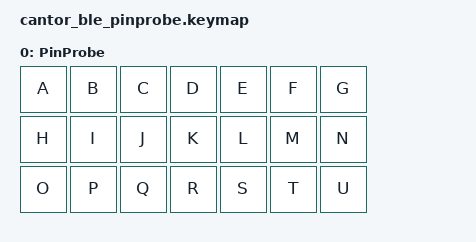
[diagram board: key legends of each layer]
#include <behaviors.dtsi>
#include <dt-bindings/zmk/keys.h>

/ {
  keymap {
    compatible = "zmk,keymap";
    probe_layer {
      display-name = "PinProbe";
      bindings = <
        &kp A &kp B &kp C &kp D &kp E &kp F &kp G
        &kp H &kp I &kp J &kp K &kp L &kp M &kp N
        &kp O &kp P &kp Q &kp R &kp S &kp T &kp U
      >;
    };
  };
};
